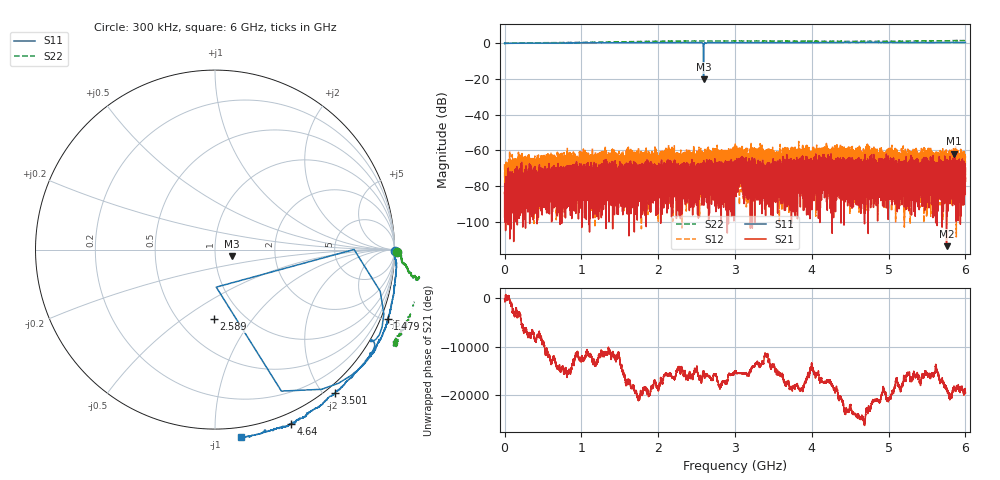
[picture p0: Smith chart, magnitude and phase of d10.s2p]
!Agilent Technologies,N5230C,SG49000117,A.08.50.07
!Agilent N5230C: A.08.50.07
!Date: Thursday, May 16, 2024 19:34:27
!Correction: S11(Full 2 Port(1,2))
!S21(Full 2 Port(1,2))
!S12(Full 2 Port(1,2))
!S22(Full 2 Port(1,2))
!S2P File: Measurements: S11, S21, S12, S22:
# Hz S  MA  R 50
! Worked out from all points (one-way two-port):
!   20001 points, 300 kHz to 6 GHz, reference 50 ohm
!   highest |S21| = -61.81 dB at 5.85 GHz (marker M1); lowest = -113.7 dB at 5.755 GHz (marker M2)
!   lowest |S11| = -20.1 dB at 2.59 GHz (marker M3), VSWR 1.22, Z = 60 - j4.36 ohm
!   |S11| at or under -10 dB: 2.589407 GHz to 2.591182 GHz (1.776 MHz wide, 0.0685 % of centre)
!   |S22| runs from -0.3 to 1.6 dB; largest |S21 - S12| = 0.0019
!   S11 on the Smith chart (normalised r, x): 300 kHz: open; 1.479 GHz: -0.51, -5.10; 2.589 GHz: 0.73, -0.66; 3.501 GHz: -0.11, -2.14; 4.64 GHz: -0.09, -1.52; 6 GHz: -0.06, -1.15
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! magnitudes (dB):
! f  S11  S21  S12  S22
! 300 kHz  0.0  -84.1  -67.8  0.1
! 30.6 MHz  0.0  -82.8  -77.9  0.0
! 208.2 MHz  0.1  -79.1  -75.5  0.1
! 1 GHz  0.2  -68.5  -66.1  0.5
! 1.479 GHz  0.3  -74.4  -66.0  0.8
! 2 GHz  0.4  -78.8  -70.9  1.1
! 2.137 GHz  0.4  -75.4  -68.2  1.2
! 2.292 GHz  0.4  -70.7  -71.5  1.2
! 2.589 GHz  -8.2  -66.6  -69.5  1.3
! 2.59 GHz  -20.1  -83.0  -82.5  1.3
! 3 GHz  0.3  -77.4  -76.4  1.3
! 3.501 GHz  0.3  -72.3  -70.3  1.2
! 4 GHz  0.4  -66.0  -64.3  1.2
! 4.16 GHz  0.5  -75.5  -63.9  1.1
! 4.64 GHz  0.5  -67.1  -75.0  1.1
! 5 GHz  0.5  -79.0  -72.2  1.1
! 5.255 GHz  0.5  -78.1  -67.7  1.2
! 5.336 GHz  0.5  -68.2  -70.5  1.2
! 5.755 GHz  0.5  -113.7  -71.2  1.4
! 5.85 GHz  0.5  -61.8  -75.0  1.5
! 5.97 GHz  0.4  -68.9  -69.2  1.5
! 6 GHz  0.5  -75.5  -63.3  1.5
